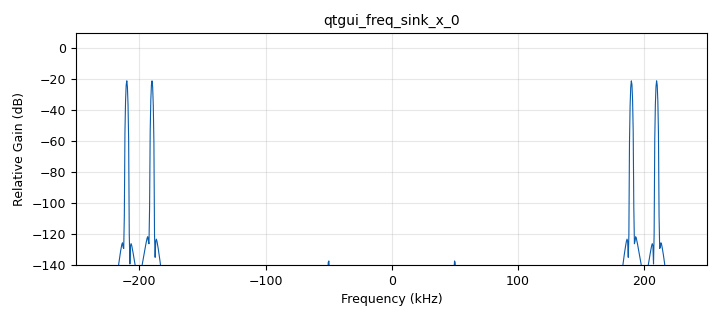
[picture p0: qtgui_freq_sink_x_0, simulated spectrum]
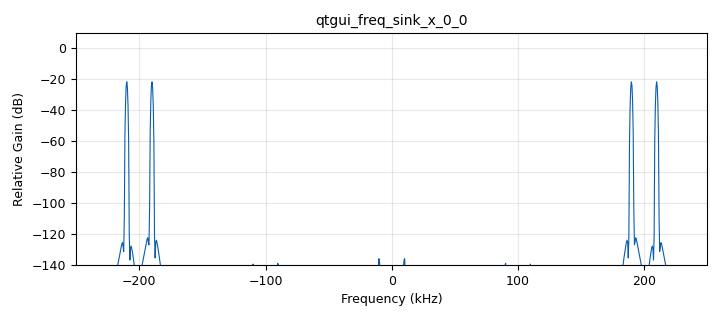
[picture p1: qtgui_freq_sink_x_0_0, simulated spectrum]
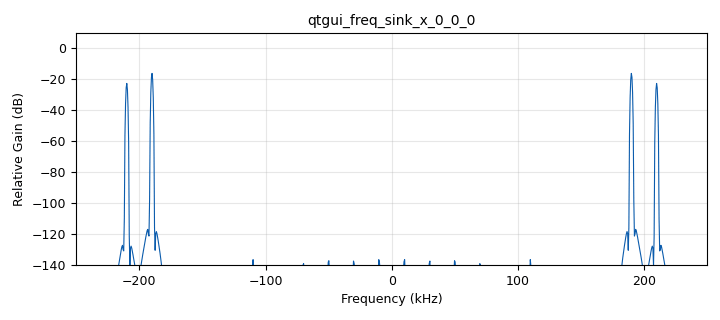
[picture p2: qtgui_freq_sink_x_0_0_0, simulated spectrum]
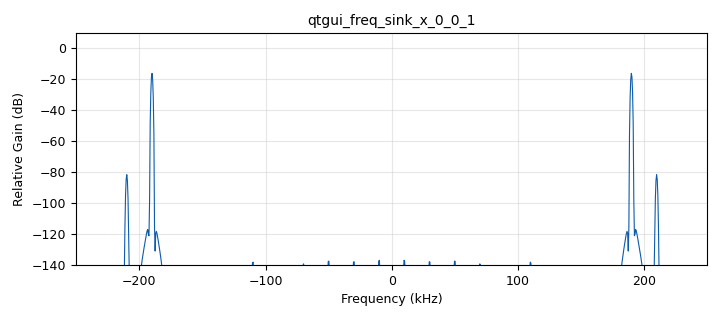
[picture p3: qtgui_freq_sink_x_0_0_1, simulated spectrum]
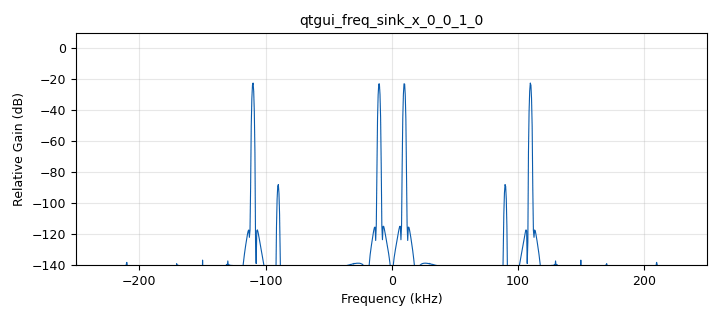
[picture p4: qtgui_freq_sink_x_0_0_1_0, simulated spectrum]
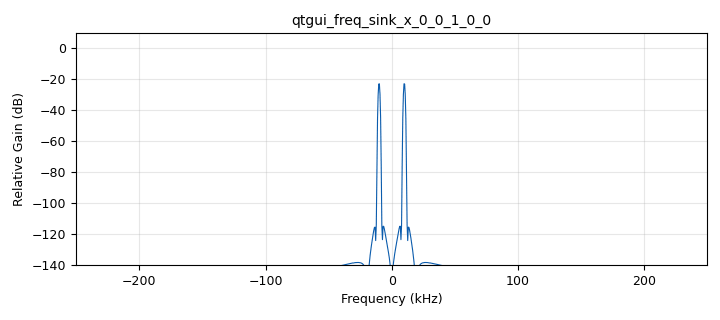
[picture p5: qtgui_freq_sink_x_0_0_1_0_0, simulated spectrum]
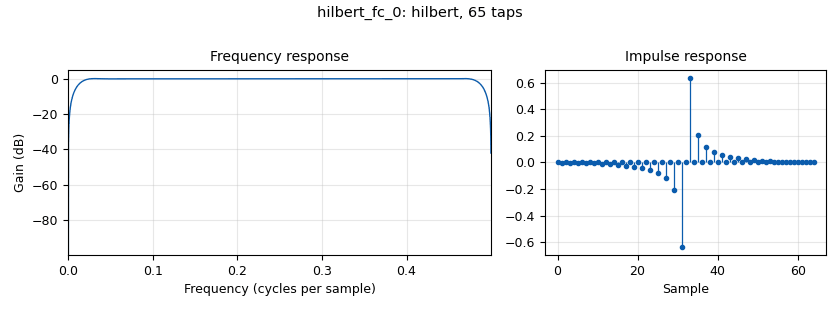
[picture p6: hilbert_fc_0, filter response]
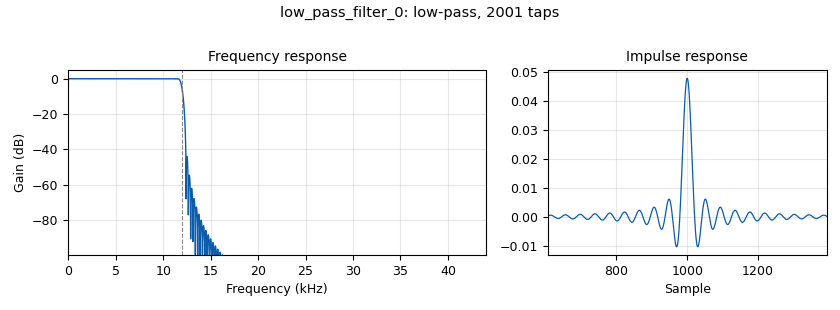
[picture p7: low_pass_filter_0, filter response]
options:
  parameters:
    author: Aman
    generate_options: qt_gui
    id: task4_lower
    output_language: python
    title: Not titled yet
  states: {}

blocks:
- name: samp_rate
  id: variable
  parameters:
    value: '500000'
  states: {}
- name: analog_sig_source_x_0
  id: analog_sig_source_x
  parameters:
    amp: '1'
    freq: '200000'
    offset: '0'
    phase: '0'
    samp_rate: samp_rate
    type: float
    waveform: analog.GR_COS_WAVE
  states: {}
- name: analog_sig_source_x_0_0
  id: analog_sig_source_x
  parameters:
    amp: '1'
    freq: '10000'
    offset: '0'
    phase: '0'
    samp_rate: samp_rate
    type: float
    waveform: analog.GR_COS_WAVE
  states: {}
- name: analog_sig_source_x_0_1
  id: analog_sig_source_x
  parameters:
    amp: '1'
    freq: '200000'
    offset: '0'
    phase: '0'
    samp_rate: samp_rate
    type: float
    waveform: analog.GR_COS_WAVE
  states: {}
- name: analog_sig_source_x_1_0_0
  id: analog_sig_source_x
  parameters:
    amp: '1'
    freq: '200000'
    offset: '0'
    phase: '0'
    samp_rate: samp_rate
    type: float
    waveform: analog.GR_SIN_WAVE
  states: {}
- name: blocks_complex_to_imag_0
  id: blocks_complex_to_imag
  parameters: {}
  states: {}
- name: blocks_multiply_xx_0
  id: blocks_multiply_xx
  parameters:
    type: float
  states: {}
- name: blocks_multiply_xx_1
  id: blocks_multiply_xx
  parameters:
    type: float
  states: {}
- name: blocks_multiply_xx_1_0
  id: blocks_multiply_xx
  parameters:
    type: float
  states: {}
- name: blocks_sub_xx_0
  id: blocks_sub_xx
  parameters:
    type: float
  states: {}
- name: hilbert_fc_0
  id: hilbert_fc
  parameters:
    num_taps: '65'
    win: firdes.WIN_HANN
  states: {}
- name: low_pass_filter_0
  id: low_pass_filter
  parameters:
    cutoff_freq: '12000'
    gain: '1'
    interp: '1'
    samp_rate: samp_rate
    type: interp_fir_filter_fff
    width: '500'
    win: firdes.WIN_HANN
  states: {}
- name: low_pass_filter_1
  id: low_pass_filter
  parameters:
    cutoff_freq: '200000'
    gain: '1'
    interp: '1'
    samp_rate: samp_rate
    type: interp_fir_filter_fff
    width: '5000'
    win: firdes.WIN_HAMMING
  states: {}
- name: qtgui_freq_sink_x_0
  id: qtgui_freq_sink_x
  parameters:
    bw: samp_rate
    fc: '0'
    fftsize: '1024'
    gui_hint: tab@0
    type: float
    wintype: firdes.WIN_BLACKMAN_hARRIS
  states: {}
- name: qtgui_freq_sink_x_0_0
  id: qtgui_freq_sink_x
  parameters:
    bw: samp_rate
    fc: '0'
    fftsize: '1024'
    gui_hint: tab@1
    type: float
    wintype: firdes.WIN_BLACKMAN_hARRIS
  states: {}
- name: qtgui_freq_sink_x_0_0_0
  id: qtgui_freq_sink_x
  parameters:
    bw: samp_rate
    fc: '0'
    fftsize: '1024'
    gui_hint: tab@2
    type: float
    wintype: firdes.WIN_BLACKMAN_hARRIS
  states: {}
- name: qtgui_freq_sink_x_0_0_1
  id: qtgui_freq_sink_x
  parameters:
    bw: samp_rate
    fc: '0'
    fftsize: '1024'
    gui_hint: tab@3
    type: float
    wintype: firdes.WIN_BLACKMAN_hARRIS
  states: {}
- name: qtgui_freq_sink_x_0_0_1_0
  id: qtgui_freq_sink_x
  parameters:
    bw: samp_rate
    fc: '0'
    fftsize: '1024'
    gui_hint: tab@4
    type: float
    wintype: firdes.WIN_BLACKMAN_hARRIS
  states: {}
- name: qtgui_freq_sink_x_0_0_1_0_0
  id: qtgui_freq_sink_x
  parameters:
    bw: samp_rate
    fc: '0'
    fftsize: '1024'
    gui_hint: tab@5
    type: float
    wintype: firdes.WIN_BLACKMAN_hARRIS
  states: {}
- name: qtgui_time_sink_x_0
  id: qtgui_time_sink_x
  parameters:
    gui_hint: tab@0
    size: '1024'
    srate: samp_rate
    type: float
  states: {}
- name: qtgui_time_sink_x_0_0
  id: qtgui_time_sink_x
  parameters:
    gui_hint: tab@1
    size: '1024'
    srate: samp_rate
    type: float
  states: {}
- name: qtgui_time_sink_x_0_0_0
  id: qtgui_time_sink_x
  parameters:
    gui_hint: tab@2
    size: '1024'
    srate: samp_rate
    type: float
  states: {}
- name: qtgui_time_sink_x_0_0_1
  id: qtgui_time_sink_x
  parameters:
    gui_hint: tab@3
    size: '1024'
    srate: samp_rate
    type: float
  states: {}
- name: qtgui_time_sink_x_0_0_1_0
  id: qtgui_time_sink_x
  parameters:
    gui_hint: tab@4
    size: '1024'
    srate: samp_rate
    type: float
  states: {}
- name: qtgui_time_sink_x_0_0_1_0_0
  id: qtgui_time_sink_x
  parameters:
    gui_hint: tab@5
    size: '1024'
    srate: samp_rate
    type: float
  states: {}
- name: tab
  id: qtgui_tab_widget
  parameters:
    label0: si
    label1: sq
    label2: sp
    label3: modulated
    label4: mod x cos
    label5: demodulated
    num_tabs: '6'
  states: {}

connections:
- [analog_sig_source_x_0, '0', blocks_multiply_xx_1, '0']
- [analog_sig_source_x_0_0, '0', blocks_multiply_xx_1, '1']
- [analog_sig_source_x_0_0, '0', hilbert_fc_0, '0']
- [analog_sig_source_x_0_1, '0', blocks_multiply_xx_0, '0']
- [analog_sig_source_x_1_0_0, '0', blocks_multiply_xx_1_0, '1']
- [blocks_complex_to_imag_0, '0', blocks_multiply_xx_1_0, '0']
- [blocks_multiply_xx_0, '0', low_pass_filter_0, '0']
- [blocks_multiply_xx_0, '0', qtgui_freq_sink_x_0_0_1_0, '0']
- [blocks_multiply_xx_0, '0', qtgui_time_sink_x_0_0_1_0, '0']
- [blocks_multiply_xx_1, '0', blocks_sub_xx_0, '0']
- [blocks_multiply_xx_1, '0', qtgui_freq_sink_x_0, '0']
- [blocks_multiply_xx_1, '0', qtgui_time_sink_x_0, '0']
- [blocks_multiply_xx_1_0, '0', blocks_sub_xx_0, '1']
- [blocks_multiply_xx_1_0, '0', qtgui_freq_sink_x_0_0, '0']
- [blocks_multiply_xx_1_0, '0', qtgui_time_sink_x_0_0, '0']
- [blocks_sub_xx_0, '0', low_pass_filter_1, '0']
- [blocks_sub_xx_0, '0', qtgui_freq_sink_x_0_0_0, '0']
- [blocks_sub_xx_0, '0', qtgui_time_sink_x_0_0_0, '0']
- [hilbert_fc_0, '0', blocks_complex_to_imag_0, '0']
- [low_pass_filter_0, '0', qtgui_freq_sink_x_0_0_1_0_0, '0']
- [low_pass_filter_0, '0', qtgui_time_sink_x_0_0_1_0_0, '0']
- [low_pass_filter_1, '0', blocks_multiply_xx_0, '1']
- [low_pass_filter_1, '0', qtgui_freq_sink_x_0_0_1, '0']
- [low_pass_filter_1, '0', qtgui_time_sink_x_0_0_1, '0']

metadata:
  file_format: 1
